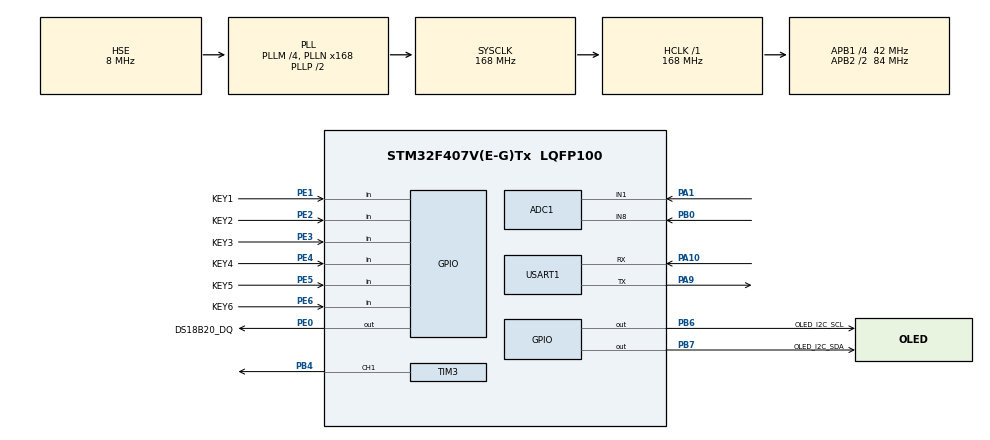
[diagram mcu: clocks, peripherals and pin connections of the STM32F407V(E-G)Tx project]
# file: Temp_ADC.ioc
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ADC1.Channel-0\#ChannelRegularConversion=ADC_CHANNEL_1
ADC1.Channel-1\#ChannelRegularConversion=ADC_CHANNEL_8
ADC1.ContinuousConvMode=ENABLE
ADC1.DMAContinuousRequests=ENABLE
ADC1.NbrOfConversion=2
ADC1.NbrOfConversionFlag=1
ADC1.Rank-0\#ChannelRegularConversion=1
ADC1.Rank-1\#ChannelRegularConversion=2
ADC1.SamplingTime-0\#ChannelRegularConversion=ADC_SAMPLETIME_480CYCLES
ADC1.SamplingTime-1\#ChannelRegularConversion=ADC_SAMPLETIME_480CYCLES
ADC1.master=1
Dma.ADC1.1.Direction=DMA_PERIPH_TO_MEMORY
Dma.ADC1.1.FIFOMode=DMA_FIFOMODE_DISABLE
Dma.ADC1.1.Instance=DMA2_Stream0
Dma.ADC1.1.MemDataAlignment=DMA_MDATAALIGN_HALFWORD
Dma.ADC1.1.MemInc=DMA_MINC_ENABLE
Dma.ADC1.1.Mode=DMA_CIRCULAR
Dma.ADC1.1.PeriphDataAlignment=DMA_PDATAALIGN_HALFWORD
Dma.ADC1.1.PeriphInc=DMA_PINC_DISABLE
Dma.ADC1.1.Priority=DMA_PRIORITY_LOW
Dma.Request0=USART1_RX
Dma.Request1=ADC1
Dma.USART1_RX.0.Direction=DMA_PERIPH_TO_MEMORY
Dma.USART1_RX.0.FIFOMode=DMA_FIFOMODE_DISABLE
Dma.USART1_RX.0.Instance=DMA2_Stream2
Dma.USART1_RX.0.MemDataAlignment=DMA_MDATAALIGN_BYTE
Dma.USART1_RX.0.MemInc=DMA_MINC_ENABLE
Dma.USART1_RX.0.Mode=DMA_NORMAL
Dma.USART1_RX.0.PeriphDataAlignment=DMA_PDATAALIGN_BYTE
Dma.USART1_RX.0.PeriphInc=DMA_PINC_DISABLE
Dma.USART1_RX.0.Priority=DMA_PRIORITY_LOW
FREERTOS.HEAP_NUMBER=4
FREERTOS.Tasks01=CollectTask,24,256,StartCollectTask,Default,NULL,Dynamic,NULL,NULL;keyTask,24,256,StartKeyTask,Default,NULL,Dynamic,NULL,NULL;beepTask,24,256,StartBeepTask,Default,NULL,Dynamic,NULL,NULL;GUITask,8,256,StartGUITask,Default,NULL,Dynamic,NULL,NULL;UartTask,24,256,StartUartTask,Default,NULL,Dynamic,NULL,NULL
FREERTOS.configENABLE_FPU=0
Mcu.Family=STM32F4
Mcu.Name=STM32F407V(E-G)Tx
Mcu.Package=LQFP100
NVIC.ADC_IRQn=true\:5\:0\:true\:false\:true\:false\:true\:true
NVIC.DMA2_Stream0_IRQn=true\:5\:0\:false\:false\:true\:true\:false\:true
NVIC.DMA2_Stream2_IRQn=true\:5\:0\:false\:false\:true\:true\:false\:true
NVIC.PriorityGroup=NVIC_PRIORITYGROUP_4
NVIC.TIM8_TRG_COM_TIM14_IRQn=true\:0\:0\:false\:false\:true\:false\:false\:true
NVIC.TimeBase=TIM8_TRG_COM_TIM14_IRQn
NVIC.TimeBaseIP=TIM14
NVIC.USART1_IRQn=true\:5\:0\:true\:false\:true\:false\:true\:true
PA1.Signal=ADCx_IN1
PA10.Mode=Asynchronous
PA10.Signal=USART1_RX
PA13.Mode=Serial_Wire
PA13.Signal=SYS_JTMS-SWDIO
PA14.Mode=Serial_Wire
PA14.Signal=SYS_JTCK-SWCLK
PA9.Mode=Asynchronous
PA9.Signal=USART1_TX
PB0.Signal=ADCx_IN8
PB4.Signal=S_TIM3_CH1
PB6.GPIO_Label=OLED_I2C_SCL
PB6.Signal=GPIO_Output
PB7.GPIO_Label=OLED_I2C_SDA
PB7.Signal=GPIO_Output
PE0.GPIO_Label=DS18B20_DQ
PE0.Signal=GPIO_Output
PE1.GPIO_Label=KEY1
PE1.GPIO_PuPd=GPIO_PULLUP
PE1.Signal=GPIO_Input
PE2.GPIO_Label=KEY2
PE2.GPIO_PuPd=GPIO_PULLUP
PE2.Signal=GPIO_Input
PE3.GPIO_Label=KEY3
PE3.GPIO_PuPd=GPIO_PULLUP
PE3.Signal=GPIO_Input
PE4.GPIO_Label=KEY4
PE4.GPIO_PuPd=GPIO_PULLUP
PE4.Signal=GPIO_Input
PE5.GPIO_Label=KEY5
PE5.GPIO_PuPd=GPIO_PULLDOWN
PE5.Signal=GPIO_Input
PE6.GPIO_Label=KEY6
PE6.GPIO_PuPd=GPIO_PULLDOWN
PE6.Signal=GPIO_Input
PH0-OSC_IN.Mode=HSE-External-Oscillator
PH0-OSC_IN.Signal=RCC_OSC_IN
PH1-OSC_OUT.Mode=HSE-External-Oscillator
PH1-OSC_OUT.Signal=RCC_OSC_OUT
ProjectManager.HeapSize=0x200
ProjectManager.StackSize=0x400
ProjectManager.TargetToolchain=SW4STM32
RCC.48MHZClocksFreq_Value=84000000
RCC.AHBFreq_Value=168000000
RCC.APB1CLKDivider=RCC_HCLK_DIV4
RCC.APB1Freq_Value=42000000
RCC.APB1TimFreq_Value=84000000
RCC.APB2CLKDivider=RCC_HCLK_DIV2
RCC.APB2Freq_Value=84000000
RCC.APB2TimFreq_Value=168000000
RCC.CortexFreq_Value=168000000
RCC.HCLKFreq_Value=168000000
RCC.HSE_VALUE=8000000
RCC.HSI_VALUE=16000000
RCC.LSE_VALUE=32768
RCC.PLLM=4
RCC.PLLN=168
RCC.PLLSourceVirtual=RCC_PLLSOURCE_HSE
RCC.SYSCLKFreq_VALUE=168000000
RCC.SYSCLKSource=RCC_SYSCLKSOURCE_PLLCLK
RCC.VCOOutputFreq_Value=336000000
SH.ADCx_IN1.0=ADC1_IN1,IN1
SH.ADCx_IN8.0=ADC1_IN8,IN8
SH.S_TIM3_CH1.0=TIM3_CH1,PWM Generation1 CH1
TIM3.AutoReloadPreload=TIM_AUTORELOAD_PRELOAD_ENABLE
TIM3.Channel-PWM\ Generation1\ CH1=TIM_CHANNEL_1
TIM3.OCPolarity_1=TIM_OCPOLARITY_LOW
TIM3.Period=299
TIM3.Prescaler=83
TIM3.Pulse-PWM\ Generation1\ CH1=200
USART1.VirtualMode=VM_ASYNC
VP_FREERTOS_VS_CMSIS_V2.Mode=CMSIS_V2
VP_SYS_VS_tim14.Mode=TIM14
board=custom

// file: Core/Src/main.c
/* USER CODE BEGIN Header */
/**
  ******************************************************************************
  * @file           : main.c
  * @brief          : Main program body
  ******************************************************************************
  * @attention
  *
  * <h2><center>&copy; Copyright (c) 2020 STMicroelectronics.
  * All rights reserved.</center></h2>
  *
  * This software component is licensed by ST under BSD 3-Clause license,
  * the "License"; You may not use this file except in compliance with the
  * License. You may obtain a copy of the License at:
  *                        opensource.org/licenses/BSD-3-Clause
  *
  ******************************************************************************
  */
/* USER CODE END Header */
#include "main.h"
#include "cmsis_os.h"
#include "adc.h"
#include "dma.h"
#include "tim.h"
#include "usart.h"
#include "gpio.h"

/* USER CODE BEGIN Includes */
#include <retarget.h>
/* USER CODE END Includes */

void SystemClock_Config(void);
void MX_FREERTOS_Init(void);

int main(void)
{

  /* MCU Configuration--------------------------------------------------------*/

  /* Reset of all peripherals, Initializes the Flash interface and the Systick. */
  HAL_Init();

  /* Configure the system clock */
  SystemClock_Config();

  /* Initialize all configured peripherals */
  MX_GPIO_Init();
  MX_DMA_Init();
  MX_USART1_UART_Init();
  MX_TIM3_Init();
  MX_ADC1_Init();
  /* USER CODE BEGIN 2 */
    RetargetInit(&huart1);

  /* USER CODE END 2 */

  /* Init scheduler */
  osKernelInitialize();  /* Call init function for freertos objects (in freertos.c) */
  MX_FREERTOS_Init();
  /* Start scheduler */
  osKernelStart();

  /* We should never get here as control is now taken by the scheduler */
  /* Infinite loop */
  while (1)
  {

  }
}

void SystemClock_Config(void)
{
  RCC_OscInitTypeDef RCC_OscInitStruct = {0};
  RCC_ClkInitTypeDef RCC_ClkInitStruct = {0};

  /** Configure the main internal regulator output voltage
  */
  __HAL_RCC_PWR_CLK_ENABLE();
  __HAL_PWR_VOLTAGESCALING_CONFIG(PWR_REGULATOR_VOLTAGE_SCALE1);
  /** Initializes the RCC Oscillators according to the specified parameters
  * in the RCC_OscInitTypeDef structure.
  */
  RCC_OscInitStruct.OscillatorType = RCC_OSCILLATORTYPE_HSE;
  RCC_OscInitStruct.HSEState = RCC_HSE_ON;
  RCC_OscInitStruct.PLL.PLLState = RCC_PLL_ON;
  RCC_OscInitStruct.PLL.PLLSource = RCC_PLLSOURCE_HSE;
  RCC_OscInitStruct.PLL.PLLM = 4;
  RCC_OscInitStruct.PLL.PLLN = 168;
  RCC_OscInitStruct.PLL.PLLP = RCC_PLLP_DIV2;
  RCC_OscInitStruct.PLL.PLLQ = 4;
  if (HAL_RCC_OscConfig(&RCC_OscInitStruct) != HAL_OK)
  {
    Error_Handler();
  }
  /** Initializes the CPU, AHB and APB buses clocks
  */
  RCC_ClkInitStruct.ClockType = RCC_CLOCKTYPE_HCLK|RCC_CLOCKTYPE_SYSCLK
                              |RCC_CLOCKTYPE_PCLK1|RCC_CLOCKTYPE_PCLK2;
  RCC_ClkInitStruct.SYSCLKSource = RCC_SYSCLKSOURCE_PLLCLK;
  RCC_ClkInitStruct.AHBCLKDivider = RCC_SYSCLK_DIV1;
  RCC_ClkInitStruct.APB1CLKDivider = RCC_HCLK_DIV4;
  RCC_ClkInitStruct.APB2CLKDivider = RCC_HCLK_DIV2;

  if (HAL_RCC_ClockConfig(&RCC_ClkInitStruct, FLASH_LATENCY_5) != HAL_OK)
  {
    Error_Handler();
  }
}

 /**
  * @brief  Period elapsed callback in non blocking mode
  * @note   This function is called  when TIM14 interrupt took place, inside
  * HAL_TIM_IRQHandler(). It makes a direct call to HAL_IncTick() to increment
  * a global variable "uwTick" used as application time base.
  * @param  htim : TIM handle
  * @retval None
  */
void HAL_TIM_PeriodElapsedCallback(TIM_HandleTypeDef *htim)
{
  if (htim->Instance == TIM14) {
    HAL_IncTick();
  }
}

void Error_Handler(void)
{
}

/************************ (C) COPYRIGHT STMicroelectronics *****END OF FILE****/

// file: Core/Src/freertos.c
/* USER CODE BEGIN Header */
/**
  ******************************************************************************
  * File Name          : freertos.c
  * Description        : Code for freertos applications
  ******************************************************************************
  * @attention
  *
  * <h2><center>&copy; Copyright (c) 2020 STMicroelectronics.
  * All rights reserved.</center></h2>
  *
  * This software component is licensed by ST under Ultimate Liberty license
  * SLA0044, the "License"; You may not use this file except in compliance with
  * the License. You may obtain a copy of the License at:
  *                             www.st.com/SLA0044
  *
  ******************************************************************************
  */
/* USER CODE END Header */

#include "FreeRTOS.h"
#include "task.h"
#include "main.h"
#include "cmsis_os.h"

/* USER CODE BEGIN Includes */
#include <stdio.h>
#include <string.h>
#include <stdbool.h>
#include "tim.h"
#include "GUI.h"
#include "usart.h"
#include "DS_18B20.h"
#include "adc.h"
/* USER CODE END Includes */

/* USER CODE BEGIN PTD */
extern GUI_CONST_STORAGE GUI_BITMAP bmCN_bilibiliB;
extern GUI_FLASH const GUI_FONT GUI_FontHZ_SimSun_12;
extern uint32_t recv_len;//接收数据长度
extern uint8_t dma_buf[MAX_BUF_LEN];//DMA接收缓存
/* USER CODE END PTD */

/* USER CODE BEGIN Variables */
uint8_t key_state = 0;
uint8_t key_buf = 0;
bool beep_switch = 0;

float temp;
int temp_max = 40;
uint16_t val[16];//DMA采样数据缓存
uint16_t adc_val1 = 0;//通道1采样数据
uint16_t adc_val2 = 0;//通道2采样数据
bool touch_button = false;
bool touch_flag = true;
/* USER CODE END Variables */
/* Definitions for CollectTask */
osThreadId_t CollectTaskHandle;
const osThreadAttr_t CollectTask_attributes = {
  .name = "CollectTask",
  .priority = (osPriority_t) osPriorityNormal,
  .stack_size = 256 * 4
};
/* Definitions for keyTask */
osThreadId_t keyTaskHandle;
const osThreadAttr_t keyTask_attributes = {
  .name = "keyTask",
  .priority = (osPriority_t) osPriorityNormal,
  .stack_size = 256 * 4
};
/* Definitions for beepTask */
osThreadId_t beepTaskHandle;
const osThreadAttr_t beepTask_attributes = {
  .name = "beepTask",
  .priority = (osPriority_t) osPriorityNormal,
  .stack_size = 256 * 4
};
/* Definitions for GUITask */
osThreadId_t GUITaskHandle;
const osThreadAttr_t GUITask_attributes = {
  .name = "GUITask",
  .priority = (osPriority_t) osPriorityLow,
  .stack_size = 256 * 4
};
/* Definitions for UartTask */
osThreadId_t UartTaskHandle;
const osThreadAttr_t UartTask_attributes = {
  .name = "UartTask",
  .priority = (osPriority_t) osPriorityNormal,
  .stack_size = 256 * 4
};

void StartCollectTask(void *argument);
void StartKeyTask(void *argument);
void StartBeepTask(void *argument);
void StartGUITask(void *argument);
void StartUartTask(void *argument);

void MX_FREERTOS_Init(void); /* (MISRA C 2004 rule 8.1) */

void MX_FREERTOS_Init(void) {

  /* Create the thread(s) */
  /* creation of CollectTask */
  CollectTaskHandle = osThreadNew(StartCollectTask, NULL, &CollectTask_attributes);

  /* creation of keyTask */
  keyTaskHandle = osThreadNew(StartKeyTask, NULL, &keyTask_attributes);

  /* creation of beepTask */
  beepTaskHandle = osThreadNew(StartBeepTask, NULL, &beepTask_attributes);

  /* creation of GUITask */
  GUITaskHandle = osThreadNew(StartGUITask, NULL, &GUITask_attributes);

  /* creation of UartTask */
  UartTaskHandle = osThreadNew(StartUartTask, NULL, &UartTask_attributes);

}

void StartCollectTask(void *argument)
{
  /* USER CODE BEGIN StartCollectTask */
    int touch_sum = 0;
    int touch_count = 0;

    ds18b20_init();
    uint32_t tick = osKernelGetTickCount() + 100;
    uint32_t tick2 = osKernelGetTickCount() + 10;
#if (ADC_MODE == 2)
    HAL_ADC_Start_IT(&hadc1);
#endif
#if (ADC_MODE == 3)
    HAL_ADC_Start_DMA(&hadc1, (uint32_t *)val, 16);
#endif
  /* Infinite loop */
  for(;;)
  {
      if (osKernelGetTickCount() >= tick){//100ms 读取一次
          tick = osKernelGetTickCount() + 100;
          temp = ds18b20_read();
#if (ADC_MODE == 1)
          int adc_val1 = 0; int adc_val2 = 0;
          HAL_ADC_Start(&hadc1); //查询方式AD采集，每次采集两个通道
          if(HAL_ADC_PollForConversion(&hadc1, 10) == HAL_OK){//等待第1个采集额完成
              adc_val1 = HAL_ADC_GetValue(&hadc1);
          }
          if(HAL_ADC_PollForConversion(&hadc1, 10) == HAL_OK){//等待第2个采集额完成
              adc_val2 = HAL_ADC_GetValue(&hadc1);
          }
          printf("temperature = %5.1f, adc_val1 = %5d, adc_val2 = %5d\r\n", temp, adc_val1, adc_val2);
#endif
#if (ADC_MODE == 2)
          printf("temperature = %5.1f, adc_val1 = %5d, adc_val2 = %5d\r\n", temp, adc_val1, adc_val2);
          if (HAL_ADC_GetValue(&hadc1) & HAL_ADC_STATE_REG_EOC){
              HAL_ADC_Start_IT(&hadc1);
          }

#endif
#if (ADC_MODE == 3)
//          printf("temperature = %5.1f C, adc_val1 = %5d, adc_val2 = %5d\r\n", temp, adc_val1, adc_val2);
#endif
      }
      if (osKernelGetTickCount() >= tick2 && touch_flag == true) {//10ms 快速采集
          tick2 = osKernelGetTickCount() + 10;
          touch_sum += adc_val2;
          touch_count++;
          if (touch_count > 10){
              if (touch_sum / touch_count  * 3.3 / 4095 < 2.98){
                  touch_button = true;
                  touch_flag = false;
              }
              else{
                  touch_button = false;
              }
              touch_sum = 0;
              touch_count = 0;
          }
      }
      osDelay(1);
  }
  /* USER CODE END StartCollectTask */
}

void StartKeyTask(void *argument)
{
  /* USER CODE BEGIN StartKeyTask */
  /* Infinite loop */
  for(;;)
  {
      //扫描按键
      key_state = 0;
      if (HAL_GPIO_ReadPin(KEY1_GPIO_Port,KEY1_Pin)==GPIO_PIN_RESET){
          osDelay(10);
          if(HAL_GPIO_ReadPin(KEY1_GPIO_Port,KEY1_Pin)==GPIO_PIN_RESET)
          {
              key_state = 1;
          }
          while(HAL_GPIO_ReadPin(KEY1_GPIO_Port,KEY1_Pin)==GPIO_PIN_RESET)
          {
              osDelay(1);
          }
      }
      else if (HAL_GPIO_ReadPin(KEY2_GPIO_Port,KEY2_Pin)==GPIO_PIN_RESET){
          osDelay(10);
          if(HAL_GPIO_ReadPin(KEY2_GPIO_Port,KEY2_Pin)==GPIO_PIN_RESET)
          {
              key_state = 2;
          }
          while(HAL_GPIO_ReadPin(KEY2_GPIO_Port,KEY2_Pin)==GPIO_PIN_RESET)
          {
              osDelay(1);
          }
      }
      else if (HAL_GPIO_ReadPin(KEY3_GPIO_Port,KEY3_Pin)==GPIO_PIN_RESET){
          osDelay(10);
          if(HAL_GPIO_ReadPin(KEY3_GPIO_Port,KEY3_Pin)==GPIO_PIN_RESET)
          {
              key_state = 3;
          }
          while(HAL_GPIO_ReadPin(KEY3_GPIO_Port,KEY3_Pin)==GPIO_PIN_RESET)
          {
              osDelay(1);
          }
      }
      else if (HAL_GPIO_ReadPin(KEY4_GPIO_Port,KEY4_Pin)==GPIO_PIN_RESET){
          osDelay(10);
          if(HAL_GPIO_ReadPin(KEY4_GPIO_Port,KEY4_Pin)==GPIO_PIN_RESET)
          {
              key_state = 4;
          }
          while(HAL_GPIO_ReadPin(KEY4_GPIO_Port,KEY4_Pin)==GPIO_PIN_RESET)
          {
              osDelay(1);
          }
      }
      else if (HAL_GPIO_ReadPin(KEY5_GPIO_Port,KEY5_Pin)==GPIO_PIN_SET){
          osDelay(10);
          if(HAL_GPIO_ReadPin(KEY5_GPIO_Port,KEY5_Pin)==GPIO_PIN_SET)
          {
              key_state = 5;
          }
          while(HAL_GPIO_ReadPin(KEY5_GPIO_Port,KEY5_Pin)==GPIO_PIN_SET)
          {
              osDelay(1);
          }
      }
      else if (HAL_GPIO_ReadPin(KEY6_GPIO_Port,KEY6_Pin)==GPIO_PIN_SET){
          osDelay(10);
          if(HAL_GPIO_ReadPin(KEY6_GPIO_Port,KEY6_Pin)==GPIO_PIN_SET)
          {
              key_state = 6;
          }
          while(HAL_GPIO_ReadPin(KEY6_GPIO_Port,KEY6_Pin)==GPIO_PIN_SET)
          {
              osDelay(1);
          }
      }
      //按键触发控制
      switch (key_state) {
          case 1:
              key_buf = 1;
              break;

          case 2:
              key_buf = 2;
              break;

          case 3:
              key_buf = 3;
              break;

          case 4:
              key_buf = 4;
              break;

          case 5:
              key_buf = 5;
              break;

          case 6:
              key_buf = 6;
              break;

          default:
              break;
      }

      osDelay(1);
  }
  /* USER CODE END StartKeyTask */
}

void StartBeepTask(void *argument)
{
  /* USER CODE BEGIN StartBeepTask */
    uint32_t tick = osKernelGetTickCount() + 5000;
  /* Infinite loop */
  for(;;)
  {
      if (beep_switch == true) {
          if (osKernelGetTickCount() >= tick) {//5s 报警一次嘀嘀嘀
              tick = osKernelGetTickCount() + 5000;
              for (int i = 0; i < 3; ++i) {
                  HAL_TIM_PWM_Start(&htim3, TIM_CHANNEL_1);//使能输出
                  osDelay(100);
                  HAL_TIM_PWM_Stop(&htim3, TIM_CHANNEL_1);
                  osDelay(100);
              }
              printf("The current temperature is too high\r\n");
          }
      }

      osDelay(1);
  }
  /* USER CODE END StartBeepTask */
}

/* USER CODE BEGIN Header_StartGUITask */
/**
* @brief Function implementing the GUITask thread.
* @param argument: Not used
* @retval None
*/
int temp_data_num = 0;
int temp_data[125] = {0};
int adc_data1_num = 0;
int adc_data1[125] = {0};
int adc_data2_num = 0;
int adc_data2[125] = {0};
/* USER CODE END Header_StartGUITask */
void StartGUITask(void *argument)
{
  /* USER CODE BEGIN StartGUITask */
    uint8_t menu;
    uint8_t choose_menu;
    char show_data[30];

    GUI_Init();
    GUI_DrawBitmap(&bmCN_bilibiliB, 0, 0);
    GUI_Update();//刷新显示
    osDelay(2000);
    GUI_Clear();

    GUI_SetFont(&GUI_FontHZ_SimSun_12);
    GUI_DispString("学号姓名界面\n");
    GUI_DispStringAt("学号：18042209\n", 0, 20);
    GUI_DispString("姓名：陈俊煜\n");
    GUI_DispString("课程：嵌入式系统实验\n");
    GUI_Update();//刷新显示
    osDelay(2000);
    menu = 0;//进入主菜单
    choose_menu = 1;
    uint32_t tick = osKernelGetTickCount() + 100;

    /* Infinite loop */
  for(;;)
  {
      if (menu == 0) {//主菜单
          GUI_Clear();
          GUI_DispStringAt("主菜单", 0, 0);
          GUI_DispStringAt("温度与ADC电压显示", 15, 16);
          GUI_DispStringAt("温度数据曲线", 15, 28);
          GUI_DispStringAt("麦克风数据曲线", 15, 40);
          GUI_DispStringAt("触摸按键数据曲线", 15, 52);

          switch (key_buf) {
              case 1://上
                  if(choose_menu > 1){
                      choose_menu--;
                  }
                  else{
                      choose_menu = 4;
                  }
                  key_buf = 0;
                  break;

              case 2://下
                  if(choose_menu < 4){
                      choose_menu++;
                  }
                  else{
                      choose_menu = 1;
                  }
                  key_buf = 0;
                  break;

              case 3://进入功能
                  menu = choose_menu;
                  key_buf = 0;
                  break;

              default:
                  break;
          }

          GUI_DispStringAt("->", 0, 16 + 12 * (choose_menu - 1));
          GUI_Update();//刷新显示
      }
      if (menu == 1){//温度与ADC电压显示界面
          if (osKernelGetTickCount() >= tick) {//100ms 显示一次
              tick = osKernelGetTickCount() + 100;
              GUI_Clear();
              GUI_DispStringAt("温度与ADC电压显示", 0, 0);
              sprintf(show_data, "温度：%5.1f ℃", temp);
              GUI_DispStringAt(show_data, 0, 16);
              sprintf(show_data, "麦克风电压：%5.1f V", adc_val1 * 3.3 / 4095);
              GUI_DispStringAt(show_data, 0, 28);
              sprintf(show_data, "触摸按键电压：%5.2f V", adc_val2 * 3.3 / 4095);
              GUI_DispStringAt(show_data, 0, 40);
              sprintf(show_data, "<温度上限>：%3d ℃", temp_max);
              GUI_DispStringAt(show_data, 0, 52);

              switch (key_buf) {
                  case 1://增加温度上限
                      temp_max++;
                      key_buf = 0;
                      break;

                  case 2://减少温度上限
                      temp_max--;
                      key_buf = 0;
                      break;

                  case 4://退出功能
                      menu = 0;
                      key_buf = 0;
                      break;

                  default:
                      break;
              }
              if (temp > temp_max){
                  beep_switch = true;
              }
              else{
                  beep_switch = false;
              }
              GUI_Update();//刷新显示
          }
      }
      if (menu == 2){//温度数据曲线
          if (osKernelGetTickCount() >= tick) {//100ms 显示一次
              tick = osKernelGetTickCount() + 100;
              GUI_Clear();
              GUI_DispStringAt("温度曲线", 0, 0);
              sprintf(show_data, "%5.1f ℃", temp);
              GUI_DispStringAt(show_data, 80, 0);
              GUI_DrawRect(0, 16, 126, 63);
              int y = 62 - (temp - 15) * 1.5;// 15-45
              if (temp_data_num < 125) {
                  temp_data[temp_data_num++] = y;//0-124
              } else {
                  for (int i = 0; i < 124; ++i) {
                      temp_data[i] = temp_data[i + 1];
                  }
                  temp_data[124] = y;
              }
              for (int i = 0; i < temp_data_num - 1; ++i) {
                  GUI_DrawLine(i, temp_data[i], i + 1, temp_data[i + 1]);
              }
              GUI_Update();//刷新显示

              switch (key_buf) {
                  case 4://退出功能
                      menu = 0;
                      key_buf = 0;
                      break;

                  default:
                      break;
              }
          }
      }
      if (menu == 3){//麦克风数据曲线
          if (osKernelGetTickCount() >= tick) {//100ms 显示一次
              tick = osKernelGetTickCount() + 100;
              GUI_Clear();
              GUI_DispStringAt("麦克风曲线", 0, 0);
              sprintf(show_data, "%5.1f V", adc_val1 * 3.3 / 4095);
              GUI_DispStringAt(show_data, 83, 0);
              GUI_DrawRect(0, 16, 126, 63);
              int y = 62 - (adc_val1 * 3.3 / 4095 - 0) * 13.64;// 0-3.3
              if (adc_data1_num < 125) {
                  adc_data1[adc_data1_num++] = y;//0-124
              }
              else {
                  for (int i = 0; i < 124; ++i) {
                      adc_data1[i] = adc_data1[i + 1];
                  }
                  adc_data1[124] = y;
              }
              for (int i = 0; i < adc_data1_num - 1; ++i) {
                  GUI_DrawLine(i, adc_data1[i], i + 1, adc_data1[i + 1]);
              }
              GUI_Update();//刷新显示

              switch (key_buf) {
                  case 4://退出功能
                      menu = 0;
                      key_buf = 0;
                      break;

                  default:
                      break;
              }
          }
      }
      if (menu == 4){//触摸按键数据曲线
          if (osKernelGetTickCount() >= tick) {//100ms 显示一次
              tick = osKernelGetTickCount() + 100;
              GUI_Clear();
              GUI_DispStringAt("触摸按键曲线", 0, 0);
              sprintf(show_data, "%5.2f V", adc_val2 * 3.3 / 4095);
              GUI_DispStringAt(show_data, 83, 0);
              GUI_DrawRect(0, 16, 126, 63);
              int y = 62 - (adc_val2 * 3.3 / 4095 - 2.7) * 90;// 2.7-3.2
              if (adc_data2_num < 125) {
                  adc_data2[adc_data2_num++] = y;//0-124
              }
              else {
                  for (int i = 0; i < 124; ++i) {
                      adc_data2[i] = adc_data2[i + 1];
                  }
                  adc_data2[124] = y;
              }
              for (int i = 0; i < adc_data2_num - 1; ++i) {
                  GUI_DrawLine(i, adc_data2[i], i + 1, adc_data2[i + 1]);
              }
              if (touch_button){
                  GUI_FillRect(114, 16, 126, 28);
                  touch_flag = true;
              }
              GUI_Update();//刷新显示

              switch (key_buf) {
                  case 4://退出功能
                      menu = 0;
                      key_buf = 0;
                      break;

                  default:
                      break;
              }
          }
      }
      osDelay(1);
  }
  /* USER CODE END StartGUITask */
}

void StartUartTask(void *argument)
{
  /* USER CODE BEGIN StartUartTask */
    int8_t sign_flag;
    int recv_temp;
    __HAL_UART_ENABLE_IT(&huart1, UART_IT_IDLE);//使能idle中断
    HAL_UART_Receive_DMA(&huart1, dma_buf, MAX_BUF_LEN);
  /* Infinite loop */
  for(;;)
  {
      if(recv_len > 0) {
//          printf("%s", dma_buf);
          if (strstr((char *)dma_buf, "Set Temp Max = ") != NULL){
              recv_temp = 0;
              sign_flag = 1;
              for (int i = 0; i < recv_len - 15 - 2; ++i) {
                  if (i == 0 && dma_buf[15 + i] == '-'){//考虑负数
                      sign_flag = -1;
                  }
                  else if (dma_buf[15 + i] >= '0' && dma_buf[15 + i] <= '9'){
                      recv_temp = recv_temp * 10 + (dma_buf[15 + i] - '0');
                      if (i == recv_len - 18){
                          temp_max = recv_temp * sign_flag;
                      }
                  }
                  else {
                      printf("Please check the input! (Example:Set Temp Max = 40)\r\n");
                      break;
                  }
              }
          }
          else {
              printf("Please check the input! (Example:Set Temp Max = 40)\r\n");
          }
          recv_len = 0;
      }
      osDelay(1);
  }
  /* USER CODE END StartUartTask */
}

/************************ (C) COPYRIGHT STMicroelectronics *****END OF FILE****/
